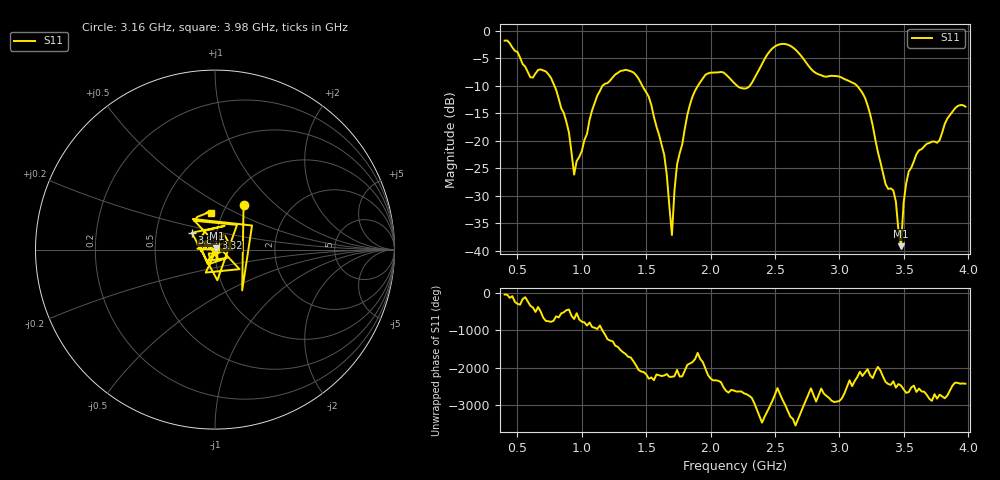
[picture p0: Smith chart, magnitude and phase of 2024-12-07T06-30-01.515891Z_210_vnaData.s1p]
!Created with skrf (http://scikit-rf.org).
# Hz S RI R 50.0
!freq ReS11 ImS11
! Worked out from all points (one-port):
!   180 points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, 400 MHz to 3.98 GHz, reference 50 ohm
!   lowest |S11| = -39.2 dB at 3.48 GHz (marker M1), VSWR 1.02, Z = 50.8 + j0.792 ohm
!   |S11| at or under -10 dB: 787.1 MHz to 1.159 GHz (372.3 MHz wide, 38.3 % of centre); 1.47 GHz to 1.901 GHz (430.4 MHz wide, 25.5 % of centre); 3.14 GHz to end of sweep (the widest 3 of 4)
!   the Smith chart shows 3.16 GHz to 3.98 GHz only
!   S11 on the Smith chart (normalised r, x): 3.16 GHz: 1.19, +0.65; 3.32 GHz: 1.00, +0.13; 3.84 GHz: 0.76, +0.15; 3.98 GHz: 0.88, +0.37
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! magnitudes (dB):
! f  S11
! 400 MHz  -1.8
! 600 MHz  -8.4
! 740 MHz  -7.9
! 860 MHz  -14.9
! 940 MHz  -26.2
! 1.12 GHz  -11.8
! 1.3 GHz  -7.3
! 1.52 GHz  -12.0
! 1.64 GHz  -22.6
! 1.7 GHz  -37.2
! 1.72 GHz  -29.0
! 1.76 GHz  -22.3
! 1.86 GHz  -11.9
! 1.96 GHz  -8.0
! 2.2 GHz  -9.8
! 2.3 GHz  -10.1
! 2.5 GHz  -2.8
! 2.64 GHz  -3.0
! 2.82 GHz  -7.7
! 3.1 GHz  -9.4
! 3.16 GHz  -10.6
! 3.32 GHz  -23.9
! 3.42 GHz  -29.0
! 3.48 GHz  -39.2
! 3.5 GHz  -31.3
! 3.54 GHz  -25.6
! 3.84 GHz  -15.9
! 3.98 GHz  -13.8
